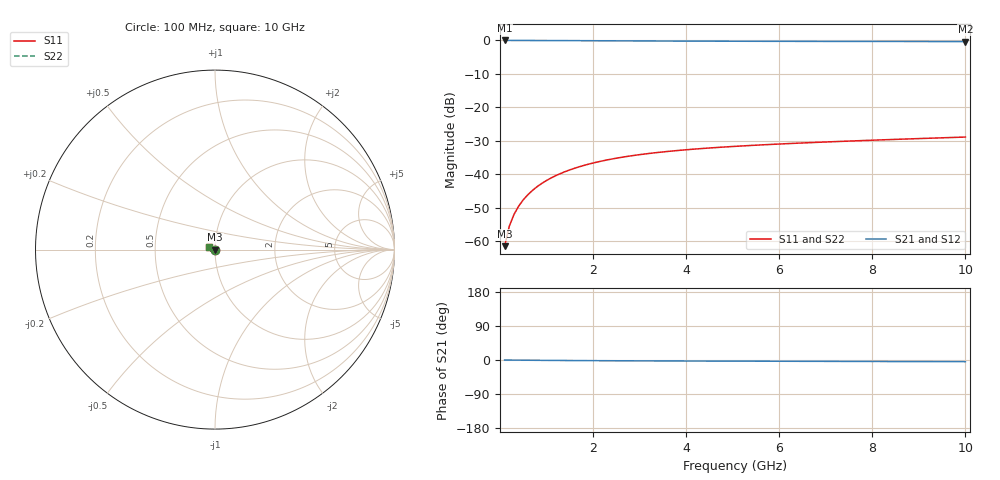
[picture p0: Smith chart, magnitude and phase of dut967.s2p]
! Touchstone file exported from HFSS 2024.1.0
!  File:  C:/UserFiles/LocalFiles/RDL_TSV_Batchsim/temp_TSV1_967_1779950987.aedt
!  Generated:  02:54:40 PM May 28, 2026
!  Design:  TSV1
!  Project:  temp_TSV1_967_1779950987
!  Setup:  Setup1
!  Solution:  Sweep
! Variables:
!  dtsv = 8.63um
!  hbump = 3um
!  htsv = 66.36um
!  lrdl = 252.1521522um
!  p = 40
!  p1 = 54.11um
!  t = 500um
!  trdl = 3um
!  wrdl = 24.89489489um
# GHz S MA R 50.000000
! Terminal data exported
! Port[1] = TSV22_T1
! Port[2] = TSV22_T2
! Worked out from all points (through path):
!   100 points, 100 MHz to 10 GHz, reference 50 ohm
!   highest |S21| = 0.00 dB at 100 MHz (marker M1); lowest = -0.3 dB at 10 GHz (marker M2)
!   lowest |S11| = -61.4 dB at 100 MHz (marker M3), VSWR 1.00, Z = 50 - j0.0838 ohm
!   |S11| at or under -10 dB: start of sweep to end of sweep
!   |S22| runs from -61.4 to -28.8 dB; largest |S21 - S12| = 4.3e-15
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0.1  0.0008497 -80.3  0.9998 -0.1  0.9998 -0.1  0.0008497 -80.3
! Gamma 0 0 0 0
! Port Impedance 50 0 50 0
0.2  0.001682 -88.1  0.9997 -0.2  0.9997 -0.2  0.001682 -88.1
0.3  0.002517 -92.1  0.9995 -0.3  0.9995 -0.3  0.002517 -92.1
0.4  0.003348 -95.2  0.9993 -0.4  0.9993 -0.4  0.003348 -95.2
0.5  0.004171 -97.9  0.999 -0.5  0.999 -0.5  0.004171 -97.9
0.6  0.004985 -100.4  0.9987 -0.6  0.9987 -0.6  0.004985 -100.4
0.7  0.005788 -102.7  0.9983 -0.7  0.9983 -0.7  0.005788 -102.7
0.8  0.006579 -105.0  0.9979 -0.8  0.9979 -0.8  0.006579 -105.0
0.9  0.007357 -107.2  0.9974 -0.9  0.9974 -0.9  0.007357 -107.2
1.1  0.008868 -111.4  0.9963 -1.1  0.9963 -1.1  0.008868 -111.4
1.4  0.01101 -117.3  0.9945 -1.3  0.9945 -1.3  0.01101 -117.3
1.6  0.01235 -121.1  0.9931 -1.5  0.9931 -1.5  0.01235 -121.1
1.8  0.01361 -124.7  0.9917 -1.6  0.9917 -1.6  0.01361 -124.7
2.1  0.01537 -129.9  0.9896 -1.8  0.9896 -1.8  0.01537 -129.9
2.5  0.01747 -136.4  0.9868 -2.0  0.9868 -2.0  0.01747 -136.4
2.9  0.01931 -142.3  0.9841 -2.2  0.9841 -2.2  0.01931 -142.3
3.4  0.02131 -149.0  0.981 -2.4  0.981 -2.4  0.02131 -149.0
4.2  0.02395 -158.5  0.9769 -2.7  0.9769 -2.7  0.02395 -158.5
5.1  0.02638 -167.7  0.9732 -3.0  0.9732 -3.0  0.02638 -167.7
6.7  0.0299 179.1  0.9686 -3.5  0.9686 -3.5  0.0299 179.1
8.4  0.03318 167.9  0.9654 -4.0  0.9654 -4.0  0.03318 167.9
10  0.03614 159.2  0.9633 -4.5  0.9633 -4.5  0.03614 159.2
